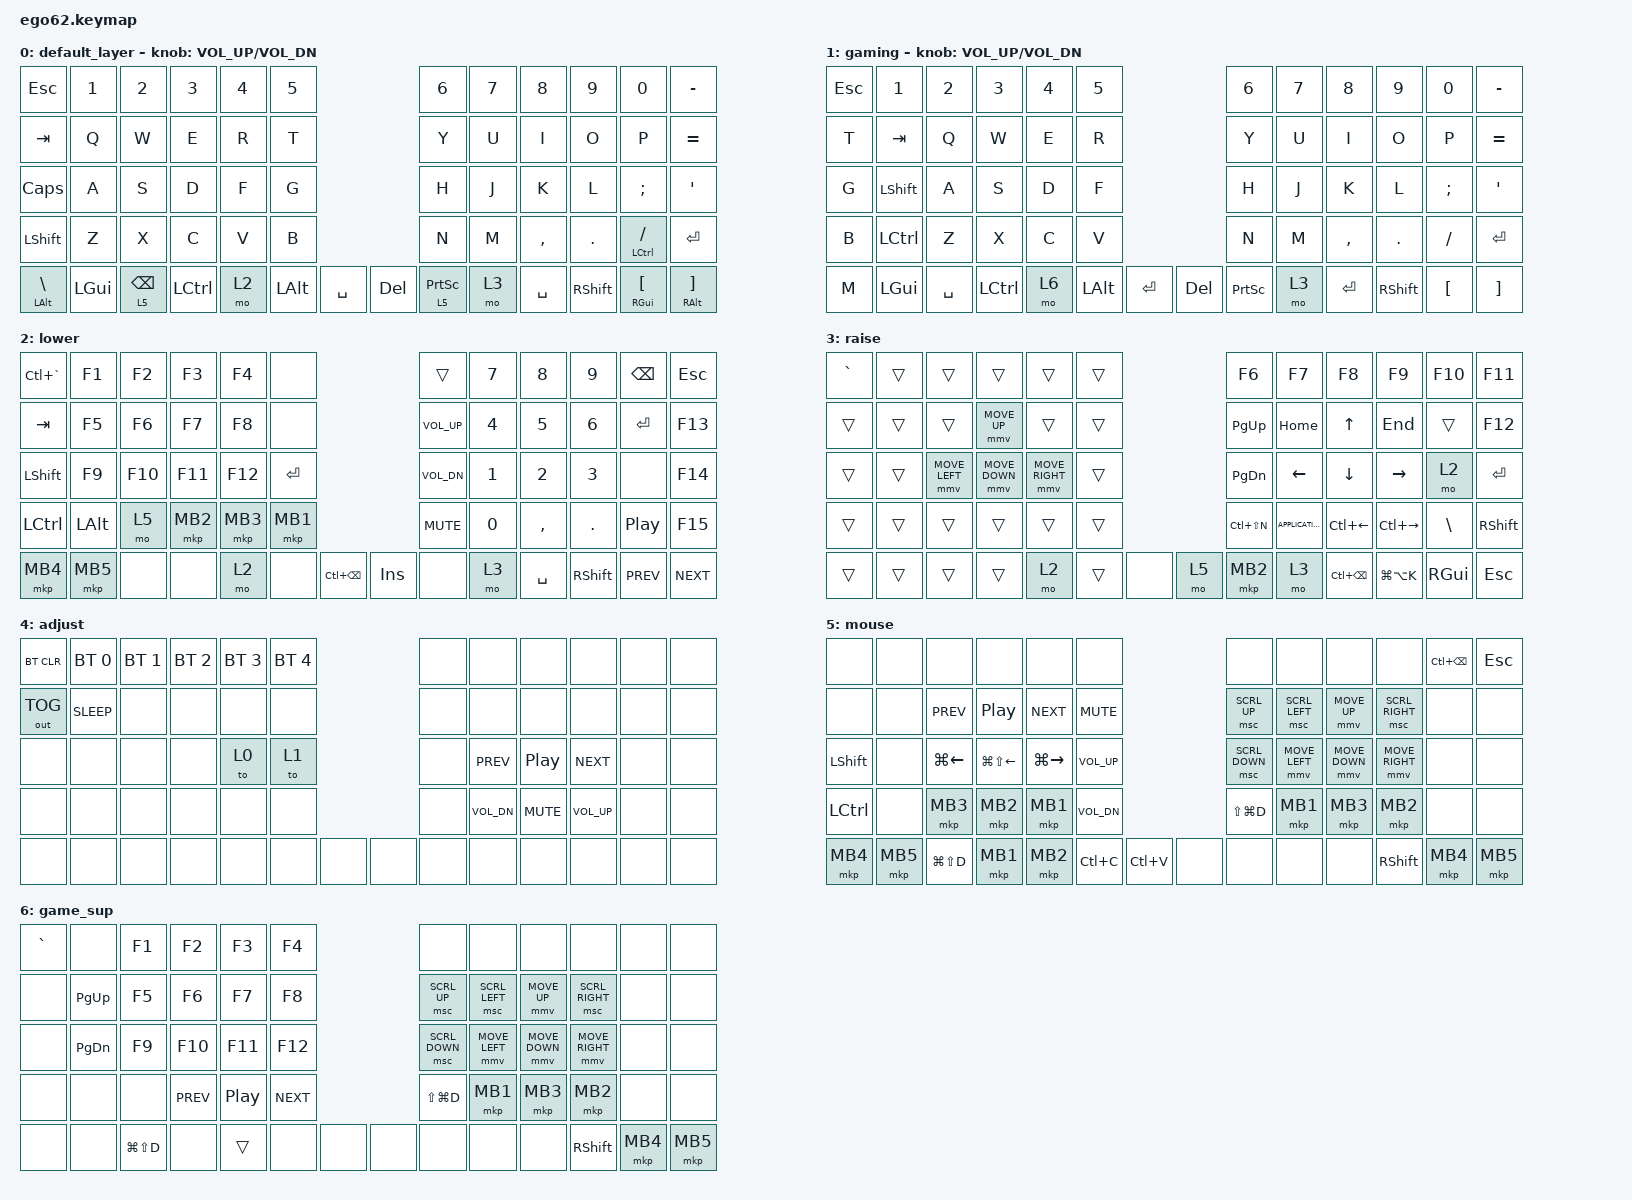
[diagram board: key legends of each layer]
/*
 * Copyright (c) 2020 The ZMK Contributors
 *
 * SPDX-License-Identifier: MIT
 */

#include <dt-bindings/zmk/mouse.h>
#include <behaviors.dtsi>
#include <dt-bindings/zmk/bt.h>
#include <dt-bindings/zmk/keys.h>
#include <dt-bindings/zmk/outputs.h>

/ {
    keymap {
        compatible = "zmk,keymap";

        default_layer {
            bindings = <
&kp ESCAPE          &kp N1        &kp N2           &kp N3     &kp N4  &kp N5                               &kp N6             &kp N7  &kp N8     &kp N9     &kp N0              &kp MINUS
&kp TAB             &kp Q         &kp W            &kp E      &kp R   &kp T                                &kp Y              &kp U   &kp I      &kp O      &kp P               &kp EQUAL
&kp CAPSLOCK        &kp A         &kp S            &kp D      &kp F   &kp G                                &kp H              &kp J   &kp K      &kp L      &kp SEMICOLON       &kp SQT
&kp LSHFT           &kp Z         &kp X            &kp C      &kp V   &kp B                                &kp N              &kp M   &kp COMMA  &kp DOT    &mt LCTRL SLASH     &kp ENTER
&mt LALT BACKSLASH  &kp LEFT_GUI  &lt 5 BACKSPACE  &kp LCTRL  &mo 2   &kp LEFT_ALT  &kp SPACE  &kp DELETE  &lt 5 PRINTSCREEN  &mo 3   &kp SPACE  &kp RSHFT  &mt RIGHT_GUI LBKT  &mt RALT RBKT
            >;

            sensor-bindings = <&inc_dec_kp C_VOL_UP C_VOL_DN>;
        };

        gaming {
            bindings = <
&kp ESCAPE  &kp N1        &kp N2     &kp N3     &kp N4  &kp N5                         &kp N6           &kp N7  &kp N8     &kp N9     &kp N0         &kp MINUS
&kp T       &kp TAB       &kp Q      &kp W      &kp E   &kp R                          &kp Y            &kp U   &kp I      &kp O      &kp P          &kp EQUAL
&kp G       &kp LSHFT     &kp A      &kp S      &kp D   &kp F                          &kp H            &kp J   &kp K      &kp L      &kp SEMICOLON  &kp SQT
&kp B       &kp LCTRL     &kp Z      &kp X      &kp C   &kp V                          &kp N            &kp M   &kp COMMA  &kp DOT    &kp FSLH       &kp ENTER
&kp M       &kp LEFT_GUI  &kp SPACE  &kp LCTRL  &mo 6   &kp LALT  &kp RET  &kp DELETE  &kp PRINTSCREEN  &mo 3   &kp ENTER  &kp RSHFT  &kp LBKT       &kp RBKT
            >;

            sensor-bindings = <&inc_dec_kp C_VOL_UP C_VOL_DN>;
        };

        lower {
            bindings = <
&kp LC(GRAVE)  &kp F1    &kp F2   &kp F3    &kp F4    &none                                     &trans        &kp N7  &kp N8     &kp N9           &kp BSPC    &kp ESCAPE
&kp TAB        &kp F5    &kp F6   &kp F7    &kp F8    &none                                     &kp C_VOL_UP  &kp N4  &kp N5     &kp N6           &kp ENTER   &kp F13
&kp LSHFT      &kp F9    &kp F10  &kp F11   &kp F12   &kp ENTER                                 &kp C_VOL_DN  &kp N1  &kp N2     &kp N3           &none       &kp F14
&kp LCTRL      &kp LALT  &mo 5    &mkp MB2  &mkp MB3  &mkp MB1                                  &kp C_MUTE    &kp N0  &kp COMMA  &kp DOT          &kp C_PP    &kp F15
&mkp MB4       &mkp MB5  &none    &none     &mo 2     &none      &kp LC(BACKSPACE)  &kp INSERT  &none         &mo 3   &kp SPACE  &kp RIGHT_SHIFT  &kp C_PREV  &kp C_NEXT
            >;
        };

        raise {
            bindings = <
&kp GRAVE  &trans  &trans          &trans          &trans           &trans                &kp F6         &kp F7             &kp F8             &kp F9           &kp F10        &kp F11
&trans     &trans  &trans          &mmv MOVE_UP    &trans           &trans                &kp PAGE_UP    &kp HOME           &kp UP_ARROW       &kp END          &trans         &kp F12
&trans     &trans  &mmv MOVE_LEFT  &mmv MOVE_DOWN  &mmv MOVE_RIGHT  &trans                &kp PAGE_DOWN  &kp LEFT_ARROW     &kp DOWN_ARROW     &kp RIGHT_ARROW  &mo 2          &kp ENTER
&trans     &trans  &trans          &trans          &trans           &trans                &kp LC(LS(N))  &kp K_APPLICATION  &kp LC(LEFT)       &kp LC(RIGHT)    &kp BACKSLASH  &kp RSHFT
&trans     &trans  &trans          &trans          &mo 2            &trans  &none  &mo 5  &mkp MB2       &mo 3              &kp LC(BACKSPACE)  &kp LG(LA(K))    &kp RGUI       &kp ESC
            >;
        };

        adjust {
            bindings = <
&bt BT_CLR    &bt BT_SEL 0  &bt BT_SEL 1  &bt BT_SEL 2  &bt BT_SEL 3  &bt BT_SEL 4                &none  &none         &none       &none         &none  &none
&out OUT_TOG  &kp K_SLEEP   &none         &none         &none         &none                       &none  &none         &none       &none         &none  &none
&none         &none         &none         &none         &to 0         &to 1                       &none  &kp C_PREV    &kp C_PP    &kp C_NEXT    &none  &none
&none         &none         &none         &none         &none         &none                       &none  &kp C_VOL_DN  &kp C_MUTE  &kp C_VOL_UP  &none  &none
&none         &none         &none         &none         &none         &none         &none  &none  &none  &none         &none       &none         &none  &none
            >;
        };

        mouse {
            bindings = <
&none      &none     &none               &none                   &none                &none                           &none           &none           &none           &none            &kp LC(BACKSPACE)  &kp ESCAPE
&none      &none     &kp C_PREV          &kp C_PP                &kp C_NEXT           &kp C_MUTE                      &msc SCRL_UP    &msc SCRL_LEFT  &mmv MOVE_UP    &msc SCRL_RIGHT  &none              &none
&kp LSHFT  &none     &kp LG(LEFT_ARROW)  &kp LG(LS(LEFT_ARROW))  &kp LG(RIGHT_ARROW)  &kp C_VOL_UP                    &msc SCRL_DOWN  &mmv MOVE_LEFT  &mmv MOVE_DOWN  &mmv MOVE_RIGHT  &none              &none
&kp LCTRL  &none     &mkp MB3            &mkp MB2                &mkp MB1             &kp C_VOL_DN                    &kp LS(LG(D))   &mkp MB1        &mkp MB3        &mkp MB2         &none              &none
&mkp MB4   &mkp MB5  &kp LG(LS(D))       &mkp MB1                &mkp MB2             &kp LC(C)     &kp LC(V)  &none  &none           &none           &none           &kp RIGHT_SHIFT  &mkp MB4           &mkp MB5
            >;
        };

        game_sup {
            bindings = <
&kp GRAVE  &none       &kp F1         &kp F2         &kp F3      &kp F4                    &none           &none           &none           &none            &none     &none
&none      &kp PG_UP   &kp F5         &kp F6         &kp F7      &kp F8                    &msc SCRL_UP    &msc SCRL_LEFT  &mmv MOVE_UP    &msc SCRL_RIGHT  &none     &none
&none      &kp PG_DN   &kp F9         &kp F10        &kp F11     &kp F12                   &msc SCRL_DOWN  &mmv MOVE_LEFT  &mmv MOVE_DOWN  &mmv MOVE_RIGHT  &none     &none
&none      &none       &none          &kp C_PREV     &kp C_PP    &kp C_NEXT                &kp LS(LG(D))   &mkp MB1        &mkp MB3        &mkp MB2         &none     &none
&none      &none       &kp LG(LS(D))  &none          &trans      &none       &none  &none  &none           &none           &none           &kp RIGHT_SHIFT  &mkp MB4  &mkp MB5
            >;
        };
    };

    conditional_layers {
        compatible = "zmk,conditional-layers";

        layer3activate {
            if-layers = <2 3>;
            then-layer = <4>;
        };
    };
};
